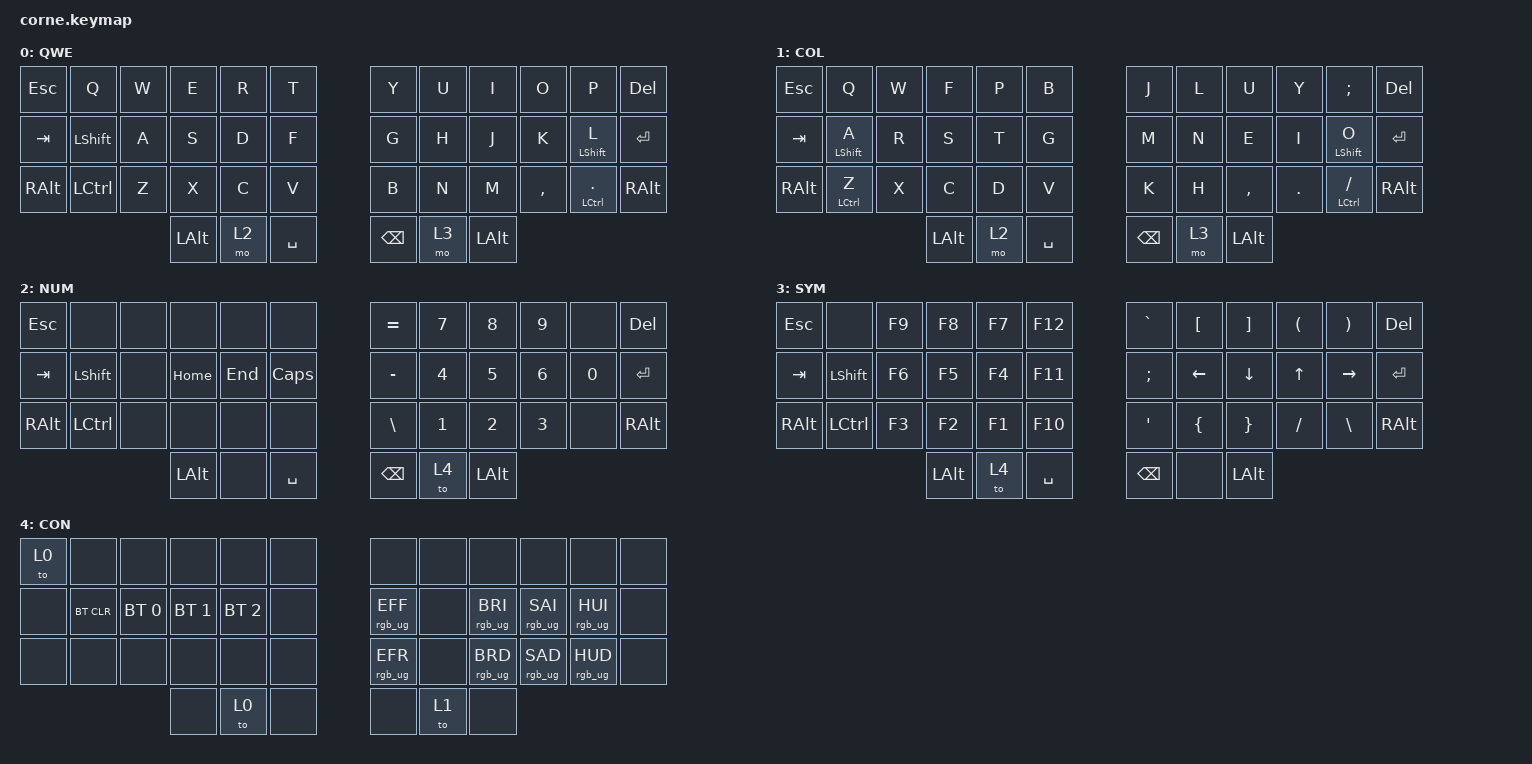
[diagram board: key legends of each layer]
/*
 * Copyright (c) 2020 The ZMK Contributors
 *
 * SPDX-License-Identifier: MIT
 */

#include <behaviors.dtsi>
#include <dt-bindings/zmk/bt.h>
#include <dt-bindings/zmk/keys.h>
#include <dt-bindings/zmk/rgb.h>

&led_strip { chain-length = <27>; };

/ {
    behaviors {
        hold_tap: hold_tap {
            compatible = "zmk,behavior-hold-tap";
            label = "HOLD_TAP";
            bindings = <&kp>, <&kp>;

            #binding-cells = <2>;
            tapping-term-ms = <175>;
            quick-tap-ms = <(-1)>;
            require-prior-idle-ms = <(-1)>;
            flavor = "tap-preferred";
        };
    };

    keymap {
        compatible = "zmk,keymap";

        qwerty {
            display-name = "QWE";
            bindings = <
&kp ESCAPE  &kp Q      &kp W  &kp E         &kp R  &kp T        &kp Y          &kp U  &kp I         &kp O      &kp P                   &kp DELETE
&kp TAB     &kp LSHFT  &kp A  &kp S         &kp D  &kp F        &kp G          &kp H  &kp J         &kp K      &hold_tap LEFT_SHIFT L  &kp ENTER
&kp RALT    &kp LCTRL  &kp Z  &kp X         &kp C  &kp V        &kp B          &kp N  &kp M         &kp COMMA  &hold_tap LCTRL DOT     &kp RIGHT_ALT
                              &kp LEFT_ALT  &mo 2  &kp SPACE    &kp BACKSPACE  &mo 3  &kp LEFT_ALT
            >;
        };

        colemak {
            display-name = "COL";
            bindings = <
&kp ESC   &kp Q                   &kp W  &kp F         &kp P  &kp B        &kp J     &kp L  &kp U         &kp Y    &kp SEMI               &kp DELETE
&kp TAB   &hold_tap LEFT_SHIFT A  &kp R  &kp S         &kp T  &kp G        &kp M     &kp N  &kp E         &kp I    &hold_tap LSHIFT O     &kp ENTER
&kp RALT  &hold_tap LCTRL Z       &kp X  &kp C         &kp D  &kp V        &kp K     &kp H  &kp COMMA     &kp DOT  &hold_tap LCTRL SLASH  &kp RALT
                                         &kp LEFT_ALT  &mo 2  &kp SPACE    &kp BSPC  &mo 3  &kp LEFT_ALT
            >;
        };

        numbers {
            // -----------------------------------------------------------------------------------------
            // |  TAB |  1  |  2  |  3  |  4  |  5  |   |  6  |  7  |  8  |  9  |  0  | BSPC |
            // | BTCLR| BT1 | BT2 | BT3 | BT4 | BT5 |   | LFT | DWN |  UP | RGT |     |      |
            // | SHFT |     |     |     |     |     |   |     |     |     |     |     |      |
            //                    | GUI |     | SPC |   | ENT |     | ALT |

            display-name = "NUM";
            bindings = <
&kp ESC   &none      &none  &none         &none    &none        &kp EQUAL      &kp N7        &kp N8        &kp N9        &none   &kp DELETE
&kp TAB   &kp LSHFT  &none  &kp HOME      &kp END  &kp CAPS     &kp MINUS      &kp NUMBER_4  &kp N5        &kp NUMBER_6  &kp N0  &kp ENTER
&kp RALT  &kp LCTRL  &none  &none         &none    &none        &kp BACKSLASH  &kp NUMBER_1  &kp NUMBER_2  &kp NUMBER_3  &none   &kp RALT
                            &kp LEFT_ALT  &none    &kp SPACE    &kp BACKSPACE  &to 4         &kp LALT
            >;
        };

        symbols {
            // -----------------------------------------------------------------------------------------
            // |  TAB |  !  |  @  |  #  |  $  |  %  |   |  ^  |  &  |  *  |  (  |  )  | BSPC |
            // | CTRL |     |     |     |     |     |   |  -  |  =  |  [  |  ]  |  \  |  `   |
            // | SHFT |     |     |     |     |     |   |  _  |  +  |  {  |  }  | "|" |  ~   |
            //                    | GUI |     | SPC |   | ENT |     | ALT |

            display-name = "SYM";
            bindings = <
&kp ESC   &none      &kp F9  &kp F8        &kp F7  &kp F12      &kp GRAVE      &kp LEFT_BRACKET  &kp RIGHT_BRACKET  &kp LPAR      &kp RPAR         &kp DEL
&kp TAB   &kp LSHFT  &kp F6  &kp F5        &kp F4  &kp F11      &kp SEMICOLON  &kp LEFT          &kp DOWN_ARROW     &kp UP_ARROW  &kp RIGHT_ARROW  &kp ENTER
&kp RALT  &kp LCTRL  &kp F3  &kp F2        &kp F1  &kp F10      &kp SQT        &kp LEFT_BRACE    &kp RIGHT_BRACE    &kp SLASH     &kp BACKSLASH    &kp RIGHT_ALT
                             &kp LEFT_ALT  &to 4   &kp SPACE    &kp BACKSPACE  &none             &kp LALT
            >;
        };

        config {
            display-name = "CON";
            bindings = <
&to 0  &none       &none         &none         &none         &none    &none            &none  &none            &none            &none            &none
&none  &bt BT_CLR  &bt BT_SEL 0  &bt BT_SEL 1  &bt BT_SEL 2  &none    &rgb_ug RGB_EFF  &none  &rgb_ug RGB_BRI  &rgb_ug RGB_SAI  &rgb_ug RGB_HUI  &none
&none  &none       &none         &none         &none         &none    &rgb_ug RGB_EFR  &none  &rgb_ug RGB_BRD  &rgb_ug RGB_SAD  &rgb_ug RGB_HUD  &none
                                 &none         &to 0         &none    &none            &to 1  &none
            >;
        };
    };
};
